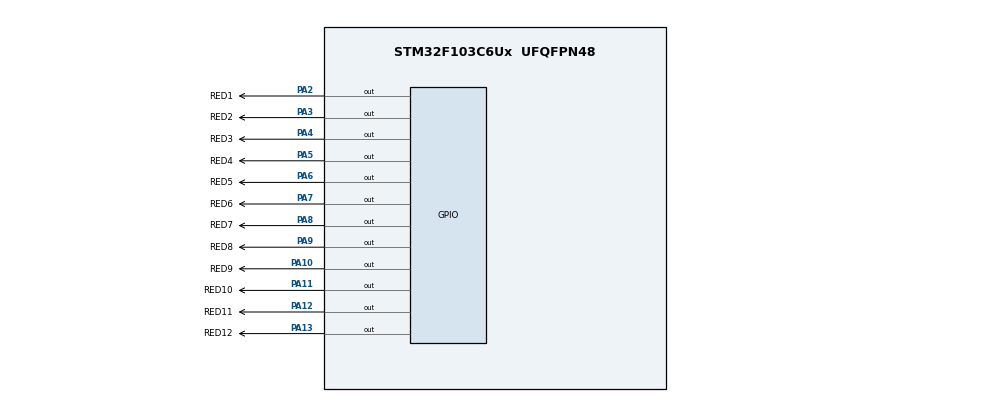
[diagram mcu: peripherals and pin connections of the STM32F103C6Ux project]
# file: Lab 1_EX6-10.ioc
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Mcu.Family=STM32F1
Mcu.Name=STM32F103C6Ux
Mcu.Package=UFQFPN48
NVIC.PriorityGroup=NVIC_PRIORITYGROUP_4
PA10.GPIO_Label=RED9
PA10.Signal=GPIO_Output
PA11.GPIO_Label=RED10
PA11.Signal=GPIO_Output
PA12.GPIO_Label=RED11
PA12.Signal=GPIO_Output
PA13.GPIO_Label=RED12
PA13.Signal=GPIO_Output
PA2.GPIO_Label=RED1
PA2.Signal=GPIO_Output
PA3.GPIO_Label=RED2
PA3.Signal=GPIO_Output
PA4.GPIO_Label=RED3
PA4.Signal=GPIO_Output
PA5.GPIO_Label=RED4
PA5.Signal=GPIO_Output
PA6.GPIO_Label=RED5
PA6.Signal=GPIO_Output
PA7.GPIO_Label=RED6
PA7.Signal=GPIO_Output
PA8.GPIO_Label=RED7
PA8.Signal=GPIO_Output
PA9.GPIO_Label=RED8
PA9.Signal=GPIO_Output
ProjectManager.HeapSize=0x200
ProjectManager.StackSize=0x400
ProjectManager.TargetToolchain=STM32CubeIDE
RCC.APB1Freq_Value=8000000
RCC.APB2Freq_Value=8000000
VP_SYS_VS_ND.Mode=No_Debug
board=custom

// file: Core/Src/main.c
/* USER CODE BEGIN Header */
/**
  ******************************************************************************
  * @file           : main.c
  * @brief          : Main program body
  ******************************************************************************
  * @attention
  *
  * <h2><center>&copy; Copyright (c) 2022 STMicroelectronics.
  * All rights reserved.</center></h2>
  *
  * This software component is licensed by ST under BSD 3-Clause license,
  * the "License"; You may not use this file except in compliance with the
  * License. You may obtain a copy of the License at:
  *                        opensource.org/licenses/BSD-3-Clause
  *
  ******************************************************************************
  */
/* USER CODE END Header */
#include "main.h"

/* USER CODE BEGIN PD */
#define DELAY 1000

#define INITIAL_STATE 0

#define HOUR_COUNT 12
#define MINUTE_COUNT 60
#define SECOND_COUNT 60
/* USER CODE END PD */

void SystemClock_Config(void);
static void MX_GPIO_Init(void);
/* USER CODE BEGIN PFP */
void clear_All_Clock(){
    HAL_GPIO_WritePin(RED12_GPIO_Port, RED12_Pin, SET);
    HAL_GPIO_WritePin(RED1_GPIO_Port, RED1_Pin, SET);
    HAL_GPIO_WritePin(RED2_GPIO_Port, RED2_Pin, SET);
    HAL_GPIO_WritePin(RED3_GPIO_Port, RED3_Pin, SET);
    HAL_GPIO_WritePin(RED4_GPIO_Port, RED4_Pin, SET);
    HAL_GPIO_WritePin(RED5_GPIO_Port, RED5_Pin, SET);
    HAL_GPIO_WritePin(RED6_GPIO_Port, RED6_Pin, SET);
    HAL_GPIO_WritePin(RED7_GPIO_Port, RED7_Pin, SET);
    HAL_GPIO_WritePin(RED8_GPIO_Port, RED8_Pin, SET);
    HAL_GPIO_WritePin(RED9_GPIO_Port, RED9_Pin, SET);
    HAL_GPIO_WritePin(RED10_GPIO_Port, RED10_Pin, SET);
    HAL_GPIO_WritePin(RED11_GPIO_Port, RED11_Pin, SET);
}

void set_Number_on_Clock(int num){
    switch(num){
        case 0:
            HAL_GPIO_WritePin(RED12_GPIO_Port, RED12_Pin, RESET);
            break;
        case 1:
            HAL_GPIO_WritePin(RED1_GPIO_Port, RED1_Pin, RESET);
            break;
        case 2:
            HAL_GPIO_WritePin(RED2_GPIO_Port, RED2_Pin, RESET);
            break;
        case 3:
            HAL_GPIO_WritePin(RED3_GPIO_Port, RED3_Pin, RESET);
            break;
        case 4:
            HAL_GPIO_WritePin(RED4_GPIO_Port, RED4_Pin, RESET);
            break;
        case 5:
            HAL_GPIO_WritePin(RED5_GPIO_Port, RED5_Pin, RESET);
            break;
        case 6:
            HAL_GPIO_WritePin(RED6_GPIO_Port, RED6_Pin, RESET);
            break;
        case 7:
            HAL_GPIO_WritePin(RED7_GPIO_Port, RED7_Pin, RESET);
            break;
        case 8:
            HAL_GPIO_WritePin(RED8_GPIO_Port, RED8_Pin, RESET);
            break;
        case 9:
            HAL_GPIO_WritePin(RED9_GPIO_Port, RED9_Pin, RESET);
            break;
        case 10:
            HAL_GPIO_WritePin(RED10_GPIO_Port, RED10_Pin, RESET);
            break;
        case 11:
            HAL_GPIO_WritePin(RED11_GPIO_Port, RED11_Pin, RESET);
            break;
        default:
            break;
    }
}

void clear_Number_on_Clock(int num){
    switch(num){
        case 0:
            HAL_GPIO_WritePin(RED12_GPIO_Port, RED12_Pin, SET);
            break;
        case 1:
            HAL_GPIO_WritePin(RED1_GPIO_Port, RED1_Pin, SET);
            break;
        case 2:
            HAL_GPIO_WritePin(RED2_GPIO_Port, RED2_Pin, SET);
            break;
        case 3:
            HAL_GPIO_WritePin(RED3_GPIO_Port, RED3_Pin, SET);
            break;
        case 4:
            HAL_GPIO_WritePin(RED4_GPIO_Port, RED4_Pin, SET);
            break;
        case 5:
            HAL_GPIO_WritePin(RED5_GPIO_Port, RED5_Pin, SET);
            break;
        case 6:
            HAL_GPIO_WritePin(RED6_GPIO_Port, RED6_Pin, SET);
            break;
        case 7:
            HAL_GPIO_WritePin(RED7_GPIO_Port, RED7_Pin, SET);
            break;
        case 8:
            HAL_GPIO_WritePin(RED8_GPIO_Port, RED8_Pin, SET);
            break;
        case 9:
            HAL_GPIO_WritePin(RED9_GPIO_Port, RED9_Pin, SET);
            break;
        case 10:
            HAL_GPIO_WritePin(RED10_GPIO_Port, RED10_Pin, SET);
            break;
        case 11:
            HAL_GPIO_WritePin(RED11_GPIO_Port, RED11_Pin, SET);
            break;
        default:
            break;
    }
}

/* USER CODE END PFP */

int main(void)
{

  /* MCU Configuration--------------------------------------------------------*/

  /* Reset of all peripherals, Initializes the Flash interface and the Systick. */
  HAL_Init();

  /* Configure the system clock */
  SystemClock_Config();

  /* Initialize all configured peripherals */
  MX_GPIO_Init();
  /* USER CODE BEGIN 2 */
    int Second_count = INITIAL_STATE;
    int Minute_count = INITIAL_STATE;
    int Hour_count = INITIAL_STATE;
  /* USER CODE END 2 */

  /* Infinite loop */
  /* USER CODE BEGIN WHILE */
    while (1)
    {
        if(Second_count == SECOND_COUNT){
            Second_count = INITIAL_STATE;
            Minute_count++;
        }

        if(Minute_count == MINUTE_COUNT){
            Minute_count = INITIAL_STATE;
            Hour_count++;
        }

        if(Hour_count == HOUR_COUNT) Hour_count = INITIAL_STATE;

        clear_All_Clock();
        set_Number_on_Clock(Second_count);
        set_Number_on_Clock(Second_count/5);
        set_Number_on_Clock(Minute_count/5);
        set_Number_on_Clock(Hour_count);

        Second_count++;

        HAL_Delay(DELAY);
    /* USER CODE END WHILE */

    }
}

void SystemClock_Config(void)
{
  RCC_OscInitTypeDef RCC_OscInitStruct = {0};
  RCC_ClkInitTypeDef RCC_ClkInitStruct = {0};

  /** Initializes the RCC Oscillators according to the specified parameters
  * in the RCC_OscInitTypeDef structure.
  */
  RCC_OscInitStruct.OscillatorType = RCC_OSCILLATORTYPE_HSI;
  RCC_OscInitStruct.HSIState = RCC_HSI_ON;
  RCC_OscInitStruct.HSICalibrationValue = RCC_HSICALIBRATION_DEFAULT;
  RCC_OscInitStruct.PLL.PLLState = RCC_PLL_NONE;
  if (HAL_RCC_OscConfig(&RCC_OscInitStruct) != HAL_OK)
  {
    Error_Handler();
  }
  /** Initializes the CPU, AHB and APB buses clocks
  */
  RCC_ClkInitStruct.ClockType = RCC_CLOCKTYPE_HCLK|RCC_CLOCKTYPE_SYSCLK
                              |RCC_CLOCKTYPE_PCLK1|RCC_CLOCKTYPE_PCLK2;
  RCC_ClkInitStruct.SYSCLKSource = RCC_SYSCLKSOURCE_HSI;
  RCC_ClkInitStruct.AHBCLKDivider = RCC_SYSCLK_DIV1;
  RCC_ClkInitStruct.APB1CLKDivider = RCC_HCLK_DIV1;
  RCC_ClkInitStruct.APB2CLKDivider = RCC_HCLK_DIV1;

  if (HAL_RCC_ClockConfig(&RCC_ClkInitStruct, FLASH_LATENCY_0) != HAL_OK)
  {
    Error_Handler();
  }
}

static void MX_GPIO_Init(void)
{
  GPIO_InitTypeDef GPIO_InitStruct = {0};

  /* GPIO Ports Clock Enable */
  __HAL_RCC_GPIOA_CLK_ENABLE();

  /*Configure GPIO pin Output Level */
  HAL_GPIO_WritePin(GPIOA, RED1_Pin|RED2_Pin|RED3_Pin|RED4_Pin
                          |RED5_Pin|RED6_Pin|RED7_Pin|RED8_Pin
                          |RED9_Pin|RED10_Pin|RED11_Pin|RED12_Pin, GPIO_PIN_RESET);

  /*Configure GPIO pins : RED1_Pin RED2_Pin RED3_Pin RED4_Pin
                           RED5_Pin RED6_Pin RED7_Pin RED8_Pin
                           RED9_Pin RED10_Pin RED11_Pin RED12_Pin */
  GPIO_InitStruct.Pin = RED1_Pin|RED2_Pin|RED3_Pin|RED4_Pin
                          |RED5_Pin|RED6_Pin|RED7_Pin|RED8_Pin
                          |RED9_Pin|RED10_Pin|RED11_Pin|RED12_Pin;
  GPIO_InitStruct.Mode = GPIO_MODE_OUTPUT_PP;
  GPIO_InitStruct.Pull = GPIO_NOPULL;
  GPIO_InitStruct.Speed = GPIO_SPEED_FREQ_LOW;
  HAL_GPIO_Init(GPIOA, &GPIO_InitStruct);

}

void Error_Handler(void)
{
    __disable_irq();
    while (1)
    {
    }
}

/************************ (C) COPYRIGHT STMicroelectronics *****END OF FILE****/
